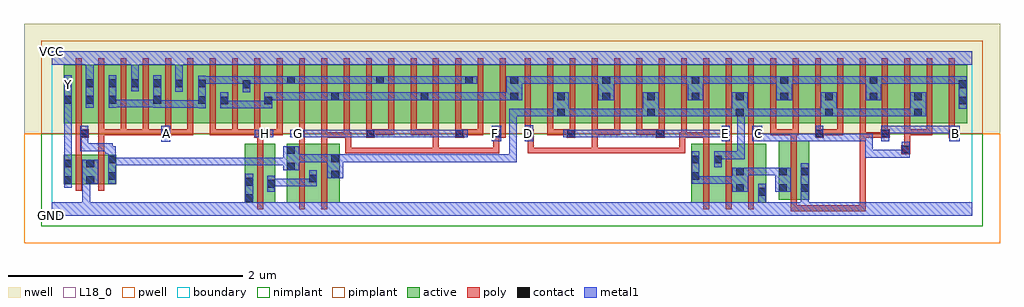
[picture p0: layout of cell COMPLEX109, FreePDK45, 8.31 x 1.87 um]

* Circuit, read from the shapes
.subckt COMPLEX109 A B C D E F G GND H VCC Y
M1 GND n1 Y VSUBS nfet w=0.25u l=0.05u
M2 n1 A GND VSUBS nfet w=0.25u l=0.05u
M3 n2 H GND VSUBS nfet w=0.5u l=0.05u
M4 n2 G n1 VSUBS nfet w=0.5u l=0.05u
M5 n1 F n2 VSUBS nfet w=0.5u l=0.05u
M6 n1 D n3 VSUBS nfet w=0.5u l=0.05u
M7 n3 E n1 VSUBS nfet w=0.5u l=0.05u
M8 GND C n3 VSUBS nfet w=0.5u l=0.05u
M9 GND B n3 VSUBS nfet w=0.5u l=0.05u
M10 VCC n1 Y n4 pfet w=0.5u l=0.05u
M11 n5 A VCC n4 pfet w=0.5u l=0.05u m=5
M12 n6 H n5 n4 pfet w=0.5u l=0.05u m=4
M13 n7 G n5 n4 pfet w=0.5u l=0.05u
M14 n6 F n7 n4 pfet w=0.5u l=0.05u
M15 n8 F n6 n4 pfet w=0.5u l=0.05u
M16 n5 G n8 n4 pfet w=0.5u l=0.05u
M17 n9 G n5 n4 pfet w=0.5u l=0.05u
M18 n6 F n9 n4 pfet w=0.5u l=0.05u
M19 n10 F n6 n4 pfet w=0.5u l=0.05u
M20 n5 G n10 n4 pfet w=0.5u l=0.05u
M21 n11 G n5 n4 pfet w=0.5u l=0.05u
M22 n6 F n11 n4 pfet w=0.5u l=0.05u
M23 n12 D n6 n4 pfet w=0.5u l=0.05u
M24 n1 E n12 n4 pfet w=0.5u l=0.05u
M25 n13 E n1 n4 pfet w=0.5u l=0.05u
M26 n6 D n13 n4 pfet w=0.5u l=0.05u
M27 n14 D n6 n4 pfet w=0.5u l=0.05u
M28 n1 E n14 n4 pfet w=0.5u l=0.05u
M29 n15 E n1 n4 pfet w=0.5u l=0.05u
M30 n6 D n15 n4 pfet w=0.5u l=0.05u
M31 n16 D n6 n4 pfet w=0.5u l=0.05u
M32 n1 E n16 n4 pfet w=0.5u l=0.05u
M33 n17 C n1 n4 pfet w=0.5u l=0.05u
M34 n6 B n17 n4 pfet w=0.5u l=0.05u
M35 n18 B n6 n4 pfet w=0.5u l=0.05u
M36 n1 C n18 n4 pfet w=0.5u l=0.05u
M37 n19 C n1 n4 pfet w=0.5u l=0.05u
M38 n6 B n19 n4 pfet w=0.5u l=0.05u
M39 n20 B n6 n4 pfet w=0.5u l=0.05u
M40 n1 C n20 n4 pfet w=0.5u l=0.05u
M41 n21 C n1 n4 pfet w=0.5u l=0.05u
M42 n6 B n21 n4 pfet w=0.5u l=0.05u
.ends

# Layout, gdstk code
import gdstk
lib = gdstk.Library(unit=1e-6, precision=1e-09)
def R(c, l, rs):  # rectangles x0, y0, x1, y1
    for r in rs: c.add(gdstk.rectangle(r[:2], r[2:], *l))
def A(c, l, x, y, w, h, nx, ny, dx, dy):  # array of equal rectangles
    R(c, l, [(x+i*dx, y+j*dy, x+i*dx+w, y+j*dy+h) for i in range(nx) for j in range(ny)])
active = (1, 0)
pwell = (2, 0)
nwell = (3, 0)
nimplant = (4, 0)
pimplant = (5, 0)
poly = (9, 0)
contact = (10, 0)
metal1 = (11, 0)
L18_0 = (18, 0)
boundary = (235, 0)

complex109 = lib.new_cell('COMPLEX109')
A(complex109, active, 0.102, 0.787, 0.26, 0.5, 3, 1, 0.76, 0)
A(complex109, active, 0.102, 0.787, 0.075, 0.413, 4, 1, 0.38, 0)
A(complex109, active, 0.287, 0.787, 0.27, 0.5, 3, 1, 0.76, 0)
A(complex109, active, 4.53, 0.787, 0.23, 0.5, 3, 1, 0.38, 0)
A(complex109, active, 4.685, 0.787, 0.225, 0.5, 3, 1, 0.38, 0)
A(complex109, active, 6.05, 0.787, 0.225, 0.5, 5, 1, 0.38, 0)
A(complex109, active, 6.2, 0.787, 0.23, 0.5, 4, 1, 0.38, 0)
R(complex109, active, [(1.645,0.112,1.905,0.612), (1.645,0.112,1.72,0.592), (2.002,0.112,2.262,0.612), (2.187,0.112,2.452,0.612), (5.445,0.112,5.71,0.612), (5.635,0.112,5.9,0.612), (5.825,0.112,6.085,0.612), (6.01,0.112,6.085,0.592), (6.19,0.137,6.45,0.637), (1.83,0.145,1.905,0.592), (2.002,0.145,2.077,0.612), (2.187,0.145,2.262,0.592), (2.377,0.145,2.452,0.612), (5.445,0.145,5.52,0.612), (5.635,0.145,5.71,0.592), (5.825,0.145,5.9,0.592), (6.19,0.145,6.265,0.637), (6.375,0.145,6.45,0.637), (0.102,0.267,0.177,0.517), (0.102,0.267,0.367,0.517), (0.292,0.267,0.367,0.517), (0.292,0.267,0.552,0.517), (0.477,0.267,0.552,0.517), (0.287,0.787,0.362,1.255), (0.482,0.787,0.747,1.287), (0.672,0.787,0.937,1.287), (0.672,0.787,0.747,1.255), (1.047,0.787,1.122,1.255), (1.242,0.787,1.507,1.287), (1.432,0.787,1.697,1.287), (1.432,0.787,1.507,1.07), (1.807,0.787,1.882,1.07), (2.002,0.787,2.227,1.287), (2.227,0.787,2.452,1.287), (2.377,0.787,2.607,1.287), (2.377,0.787,2.452,1.07), (2.607,0.787,2.835,1.287), (2.76,0.787,2.835,1.2), (2.76,0.787,2.987,1.287), (2.987,0.787,3.212,1.287), (3.137,0.787,3.367,1.287), (3.137,0.787,3.212,1.07), (3.367,0.787,3.592,1.287), (3.517,0.787,3.592,1.2), (3.517,0.787,3.747,1.287), (3.747,0.787,3.977,1.287), (3.902,0.787,3.977,1.2), (3.902,0.787,4.15,1.287), (4.15,0.787,4.375,1.287), (4.3,0.787,4.53,1.287), (4.3,0.787,4.375,1.07), (4.685,0.787,4.76,1.2), (5.065,0.787,5.14,1.07), (5.445,0.787,5.52,1.2), (5.67,0.787,5.897,1.287), (5.822,0.787,5.897,1.07), (5.822,0.787,6.05,1.287), (6.58,0.787,6.655,1.07), (6.96,0.787,7.035,1.2), (7.34,0.787,7.415,1.07), (7.72,0.787,7.795,1.2), (1.622,0.807,1.697,1.2), (2.002,0.807,2.077,1.2), (6.2,0.807,6.275,1.2)])
R(complex109, pwell, [(-0.235,-0.235,8.075,0.7)])
R(complex109, nwell, [(-0.235,0.7,8.075,1.635)])
R(complex109, nimplant, [(-0.09,-0.09,7.93,0.7)])
R(complex109, pimplant, [(-0.09,0.7,7.93,1.49)])
A(complex109, poly, 5.55, 0.057, 0.05, 0.61, 3, 1, 0.19, 0)
A(complex109, poly, 5.55, 0.617, 0.05, 0.095, 3, 1, 0.19, 0)
A(complex109, poly, 0.207, 0.687, 0.05, 0.095, 11, 1, 0.19, 0)
A(complex109, poly, 0.587, 0.687, 0.24, 0.05, 3, 1, 0.38, 0)
A(complex109, poly, 1.347, 0.687, 0.05, 0.05, 3, 1, 0.19, 0)
A(complex109, poly, 2.677, 0.687, 0.05, 0.095, 7, 1, 0.19, 0)
A(complex109, poly, 2.867, 0.687, 0.05, 0.05, 3, 1, 0.19, 0)
A(complex109, poly, 4.03, 0.687, 0.05, 0.095, 7, 1, 0.19, 0)
A(complex109, poly, 5.74, 0.687, 0.05, 0.095, 6, 1, 0.19, 0)
A(complex109, poly, 7.07, 0.687, 0.05, 0.095, 4, 1, 0.19, 0)
A(complex109, poly, 0.207, 0.732, 0.05, 0.61, 20, 1, 0.19, 0)
A(complex109, poly, 4.03, 0.732, 0.05, 0.61, 20, 1, 0.19, 0)
R(complex109, poly, [(6.295,0.037,6.345,0.132), (6.295,0.037,6.345,0.087), (6.295,0.037,6.345,0.087), (6.295,0.037,6.345,0.087), (6.295,0.037,6.607,0.087), (6.557,0.037,6.607,0.087), (6.557,0.037,6.607,0.087), (6.557,0.037,6.607,0.087), (6.557,0.037,6.607,0.087), (6.557,0.037,6.607,0.087), (6.557,0.037,6.74,0.087), (6.69,0.037,6.93,0.087), (6.69,0.037,6.74,0.087), (6.88,0.037,6.93,0.087), (6.88,0.037,6.93,0.087), (6.88,0.037,6.93,0.087), (6.88,0.037,6.93,0.712), (1.75,0.057,1.8,0.667), (2.107,0.057,2.157,0.667), (2.297,0.057,2.347,0.667), (6.295,0.082,6.345,0.692), (0.207,0.212,0.257,0.572), (0.397,0.212,0.447,0.572), (0.207,0.522,0.257,0.712), (0.397,0.522,0.447,0.737), (7.235,0.525,7.31,0.6), (2.502,0.53,2.552,0.58), (2.502,0.53,2.552,0.58), (2.502,0.53,2.552,0.58), (2.502,0.53,2.552,0.58), (2.502,0.53,2.552,0.58), (2.502,0.53,2.552,0.712), (2.502,0.53,2.775,0.58), (2.725,0.53,2.775,0.58), (2.725,0.53,2.775,0.58), (2.725,0.53,2.775,0.58), (2.725,0.53,2.907,0.58), (2.857,0.53,2.907,0.58), (2.857,0.53,3.165,0.58), (3.115,0.53,3.165,0.58), (3.115,0.53,3.165,0.58), (3.115,0.53,3.165,0.58), (3.115,0.53,3.297,0.58), (3.247,0.53,3.297,0.58), (3.247,0.53,3.297,0.58), (3.247,0.53,3.297,0.58), (3.247,0.53,3.297,0.58), (3.247,0.53,3.297,0.58), (3.247,0.53,3.43,0.58), (3.247,0.53,3.297,0.737), (3.38,0.53,3.43,0.58), (3.38,0.53,3.43,0.58), (3.38,0.53,3.43,0.58), (3.38,0.53,3.645,0.58), (3.595,0.53,3.645,0.58), (3.595,0.53,3.645,0.58), (3.595,0.53,3.645,0.58), (3.595,0.53,3.81,0.58), (3.76,0.53,3.81,0.58), (3.76,0.53,3.81,0.58), (3.76,0.53,3.81,0.58), (3.76,0.53,3.81,0.712), (4.055,0.53,4.105,0.58), (4.055,0.53,4.105,0.58), (4.055,0.53,4.105,0.58), (4.055,0.53,4.105,0.712), (4.055,0.53,4.237,0.58), (4.187,0.53,4.237,0.58), (4.187,0.53,4.237,0.58), (4.187,0.53,4.237,0.58), (4.187,0.53,4.517,0.58), (4.467,0.53,4.517,0.58), (4.467,0.53,4.517,0.58), (4.467,0.53,4.517,0.58), (4.467,0.53,4.65,0.58), (4.6,0.53,4.65,0.58), (4.6,0.53,4.86,0.58), (4.6,0.53,4.65,0.737), (4.81,0.53,4.86,0.58), (4.81,0.53,4.86,0.58), (4.81,0.53,4.86,0.58), (4.81,0.53,5.01,0.58), (4.96,0.53,5.01,0.58), (4.96,0.53,5.01,0.58), (4.96,0.53,5.01,0.58), (4.96,0.53,5.26,0.58), (5.21,0.53,5.26,0.58), (5.21,0.53,5.26,0.58), (5.21,0.53,5.26,0.58), (5.21,0.53,5.395,0.58), (5.345,0.53,5.395,0.58), (5.345,0.53,5.395,0.58), (5.345,0.53,5.395,0.58), (5.345,0.53,5.395,0.712), (7.26,0.55,7.31,0.6), (7.26,0.55,7.31,0.6), (7.26,0.55,7.31,0.737), (1.75,0.617,1.8,0.712), (2.107,0.617,2.157,0.712), (2.297,0.617,2.347,0.712), (6.295,0.642,6.345,0.737), (0.207,0.662,0.315,0.737), (0.942,0.662,1.017,0.737), (1.727,0.662,1.835,0.737), (2.082,0.662,2.157,0.737), (2.297,0.662,2.537,0.712), (2.297,0.662,2.347,0.712), (2.297,0.662,2.347,0.712), (2.297,0.662,2.347,0.712), (2.297,0.662,2.347,0.782), (2.487,0.662,2.537,0.782), (2.487,0.662,2.552,0.712), (2.677,0.662,2.752,0.737), (3.437,0.662,3.512,0.737), (3.76,0.662,3.81,0.712), (3.76,0.662,3.81,0.712), (3.76,0.662,3.867,0.737), (4.03,0.662,4.105,0.737), (4.055,0.662,4.105,0.712), (4.055,0.662,4.105,0.712), (4.385,0.662,4.46,0.737), (5.145,0.662,5.22,0.737), (5.345,0.662,5.395,0.712), (5.345,0.662,5.395,0.712), (5.345,0.662,5.41,0.712), (5.36,0.662,5.6,0.712), (5.36,0.662,5.41,0.782), (5.55,0.662,5.6,0.712), (5.55,0.662,5.6,0.712), (5.55,0.662,5.6,0.712), (5.55,0.662,5.6,0.782), (5.702,0.662,5.79,0.737), (5.93,0.662,6.037,0.737), (6.5,0.662,6.575,0.737), (6.88,0.662,6.93,0.712), (6.88,0.662,6.93,0.712), (6.88,0.662,6.93,0.712), (6.88,0.662,6.93,0.712), (6.88,0.662,6.93,0.712), (6.88,0.662,6.93,0.712), (6.88,0.662,6.93,0.712), (6.88,0.662,7.11,0.712), (6.88,0.662,6.93,0.782), (7.06,0.662,7.135,0.737), (7.06,0.662,7.11,0.712), (7.06,0.662,7.11,0.712), (7.64,0.662,7.715,0.737), (0.397,0.687,0.637,0.737), (0.397,0.687,0.447,0.737), (0.397,0.687,0.447,0.737), (0.397,0.687,0.447,0.737), (0.587,0.687,0.637,0.737), (0.587,0.687,0.637,0.737), (0.587,0.687,0.637,0.737), (0.777,0.687,0.827,0.737), (0.777,0.687,0.992,0.737), (0.942,0.687,0.992,0.737), (0.942,0.687,0.992,0.737), (1.157,0.687,1.207,0.737), (1.157,0.687,1.207,0.737), (1.157,0.687,1.207,0.737), (1.347,0.687,1.397,0.737), (1.347,0.687,1.397,0.737), (1.537,0.687,1.777,0.737), (1.727,0.687,1.777,0.737), (1.785,0.687,1.967,0.737), (1.917,0.687,1.967,0.737), (1.917,0.687,1.967,0.737), (1.917,0.687,1.967,0.737), (2.702,0.687,2.752,0.737), (2.702,0.687,2.752,0.737), (2.702,0.687,2.917,0.737), (3.057,0.687,3.297,0.737), (3.247,0.687,3.297,0.737), (3.247,0.687,3.297,0.737), (3.462,0.687,3.677,0.737), (3.627,0.687,3.677,0.737), (3.627,0.687,3.677,0.737), (3.627,0.687,3.677,0.737), (4.22,0.687,4.27,0.737), (4.22,0.687,4.27,0.737), (4.22,0.687,4.27,0.737), (4.22,0.687,4.435,0.737), (4.6,0.687,4.84,0.737), (4.6,0.687,4.65,0.737), (4.6,0.687,4.65,0.737), (4.6,0.687,4.65,0.737), (4.79,0.687,4.84,0.737), (4.79,0.687,4.84,0.737), (4.79,0.687,4.84,0.737), (4.98,0.687,5.03,0.737), (4.98,0.687,5.195,0.737), (5.145,0.687,5.195,0.737), (5.145,0.687,5.195,0.737), (6.12,0.687,6.17,0.737), (6.12,0.687,6.17,0.737), (6.12,0.687,6.17,0.737), (6.12,0.687,6.345,0.737), (6.295,0.687,6.36,0.737), (6.525,0.687,6.74,0.737), (6.69,0.687,6.74,0.737), (6.69,0.687,6.74,0.737), (6.69,0.687,6.74,0.737), (7.26,0.687,7.5,0.737), (7.26,0.687,7.31,0.737), (7.26,0.687,7.31,0.737), (7.26,0.687,7.31,0.737), (7.45,0.687,7.5,0.737)])
A(complex109, contact, 0.487, 1.095, 0.065, 0.065, 3, 1, 0.19, 0)
R(complex109, contact, [(1.65,0.117,1.715,0.182), (6.015,0.172,6.08,0.237), (5.83,0.205,5.895,0.27), (6.195,0.205,6.26,0.27), (6.38,0.205,6.445,0.27), (1.835,0.24,1.9,0.305), (1.65,0.257,1.715,0.322), (0.107,0.272,0.172,0.337), (0.297,0.272,0.362,0.337), (2.192,0.285,2.257,0.35), (0.482,0.307,0.547,0.372), (5.45,0.307,5.515,0.372), (2.382,0.317,2.447,0.382), (5.83,0.345,5.895,0.41), (6.195,0.345,6.26,0.41), (6.38,0.345,6.445,0.41), (2.007,0.387,2.072,0.452), (0.107,0.412,0.172,0.477), (0.297,0.412,0.362,0.477), (0.482,0.447,0.547,0.512), (5.45,0.447,5.515,0.512), (5.64,0.447,5.705,0.512), (2.382,0.457,2.447,0.522), (2.007,0.527,2.072,0.592), (7.24,0.53,7.305,0.595), (0.245,0.667,0.31,0.732), (0.947,0.667,1.012,0.732), (1.765,0.667,1.83,0.732), (2.087,0.667,2.152,0.732), (2.682,0.667,2.747,0.732), (3.442,0.667,3.507,0.732), (3.765,0.667,3.83,0.732), (4.035,0.667,4.1,0.732), (4.39,0.667,4.455,0.732), (5.15,0.667,5.215,0.732), (5.707,0.667,5.772,0.732), (5.967,0.667,6.032,0.732), (6.505,0.667,6.57,0.732), (7.065,0.667,7.13,0.732), (7.645,0.667,7.71,0.732), (4.305,0.845,4.37,0.91), (5.07,0.845,5.135,0.91), (5.827,0.845,5.892,0.91), (6.585,0.845,6.65,0.91), (7.345,0.845,7.41,0.91), (7.725,0.947,7.79,1.012), (1.437,0.95,1.502,1.015), (1.812,0.95,1.877,1.015), (1.247,0.952,1.312,1.017), (0.107,0.955,0.172,1.02), (0.292,0.955,0.357,1.02), (0.487,0.955,0.552,1.02), (0.867,0.955,0.932,1.02), (3.907,0.982,3.972,1.047), (4.69,0.982,4.755,1.047), (5.45,0.982,5.515,1.047), (6.205,0.982,6.27,1.047), (6.965,0.982,7.03,1.047), (2.382,0.985,2.447,1.05), (3.142,0.985,3.207,1.05), (4.305,0.985,4.37,1.05), (5.07,0.985,5.135,1.05), (5.827,0.985,5.892,1.05), (6.585,0.985,6.65,1.05), (7.345,0.985,7.41,1.05), (1.627,1.087,1.692,1.152), (7.725,1.087,7.79,1.152), (1.052,1.092,1.117,1.157), (1.247,1.092,1.312,1.157), (0.107,1.095,0.172,1.16), (0.292,1.095,0.357,1.16), (2.007,1.122,2.072,1.187), (2.765,1.122,2.83,1.187), (3.522,1.122,3.587,1.187), (3.907,1.122,3.972,1.187), (4.69,1.122,4.755,1.187), (5.45,1.122,5.515,1.187), (6.205,1.122,6.27,1.187), (6.965,1.122,7.03,1.187)])
A(complex109, metal1, 2.8, 0.457, 0.202, 0.065, 3, 2, 0.275, 0.665)
R(complex109, metal1, [(0,0,7.84,0.115), (0.262,0.05,0.327,0.115), (0.262,0.05,0.327,0.115), (0.262,0.05,0.327,0.115), (0.262,0.05,0.327,0.115), (0.262,0.05,0.327,0.337), (1.65,0.05,1.715,0.115), (1.65,0.05,1.715,0.115), (1.65,0.05,1.715,0.147), (6.015,0.05,6.08,0.202), (6.38,0.05,6.445,0.235), (1.65,0.082,1.715,0.357), (6.015,0.137,6.08,0.202), (6.015,0.137,6.08,0.202), (6.015,0.137,6.08,0.272), (6.38,0.17,6.445,0.235), (6.38,0.17,6.445,0.235), (6.38,0.17,6.445,0.445), (1.835,0.205,1.9,0.34), (5.795,0.205,5.93,0.41), (6.16,0.205,6.295,0.41), (0.107,0.237,0.172,0.512), (1.835,0.25,1.9,0.315), (1.835,0.25,1.9,0.315), (1.835,0.25,2.037,0.315), (1.972,0.25,2.037,0.315), (1.972,0.25,2.037,0.315), (1.972,0.25,2.037,0.315), (1.972,0.25,2.257,0.315), (2.192,0.25,2.257,0.385), (0.262,0.272,0.327,0.337), (0.262,0.272,0.327,0.337), (0.262,0.272,0.397,0.477), (0.482,0.272,0.547,0.592), (5.45,0.272,5.515,0.547), (5.45,0.272,5.55,0.337), (5.485,0.272,5.55,0.337), (5.485,0.272,5.687,0.337), (5.622,0.272,5.687,0.337), (5.622,0.272,5.687,0.337), (5.622,0.272,5.687,0.337), (5.622,0.272,5.86,0.337), (2.347,0.317,2.482,0.522), (5.865,0.345,6.067,0.41), (6.002,0.345,6.067,0.41), (6.002,0.345,6.067,0.41), (6.002,0.345,6.067,0.41), (6.002,0.345,6.225,0.41), (6.16,0.345,6.225,0.41), (6.16,0.345,6.225,0.41), (1.972,0.387,2.107,0.592), (5.64,0.412,5.705,0.547), (0.482,0.43,0.657,0.495), (0.592,0.43,0.657,0.495), (0.592,0.43,0.795,0.495), (0.73,0.43,0.795,0.495), (0.73,0.43,0.795,0.495), (0.73,0.43,0.795,0.495), (0.73,0.43,0.932,0.495), (0.867,0.43,0.932,0.495), (0.867,0.43,1.07,0.495), (1.005,0.43,1.07,0.495), (1.005,0.43,1.07,0.495), (1.005,0.43,1.07,0.495), (1.005,0.43,1.227,0.495), (1.162,0.43,1.227,0.495), (1.162,0.43,1.227,0.495), (1.162,0.43,1.227,0.495), (1.162,0.43,1.365,0.495), (1.3,0.43,1.365,0.495), (1.3,0.43,1.555,0.495), (1.49,0.43,1.555,0.495), (1.49,0.43,1.555,0.495), (1.49,0.43,1.555,0.495), (1.49,0.43,1.692,0.495), (1.627,0.43,1.692,0.495), (1.627,0.43,1.692,0.495), (1.627,0.43,1.692,0.495), (1.627,0.43,1.877,0.495), (1.812,0.43,1.877,0.495), (1.812,0.43,1.877,0.495), (1.812,0.43,1.877,0.495), (1.812,0.43,2.037,0.495), (0.107,0.447,0.172,0.512), (0.107,0.447,0.172,0.512), (0.107,0.447,0.172,0.512), (0.107,0.447,0.172,0.512), (0.107,0.447,0.172,0.985), (2.042,0.457,2.107,0.522), (2.042,0.457,2.107,0.522), (2.042,0.457,2.245,0.522), (2.18,0.457,2.245,0.522), (2.18,0.457,2.325,0.522), (2.26,0.457,2.325,0.522), (2.26,0.457,2.412,0.522), (2.417,0.457,2.482,0.522), (2.417,0.457,2.482,0.522), (2.417,0.457,2.645,0.522), (2.58,0.457,2.645,0.522), (2.58,0.457,2.645,0.522), (2.58,0.457,2.645,0.522), (2.58,0.457,2.865,0.522), (2.8,0.457,2.865,0.522), (2.937,0.457,3.002,0.522), (2.937,0.457,3.002,0.522), (2.937,0.457,3.002,0.522), (2.937,0.457,3.14,0.522), (3.075,0.457,3.14,0.522), (3.212,0.457,3.277,0.522), (3.212,0.457,3.277,0.522), (3.212,0.457,3.277,0.522), (3.212,0.457,3.415,0.522), (3.35,0.457,3.415,0.522), (3.35,0.457,3.415,0.522), (3.35,0.457,3.415,0.522), (3.487,0.457,3.552,0.522), (3.487,0.457,3.552,0.522), (3.487,0.457,3.552,0.522), (3.487,0.457,3.8,0.522), (3.735,0.457,3.8,0.522), (3.735,0.457,3.8,0.522), (3.735,0.457,3.8,0.522), (3.735,0.457,3.962,0.522), (3.897,0.457,3.962,0.522), (3.897,0.457,3.962,0.522), (3.897,0.457,3.962,0.522), (3.897,0.457,3.962,0.91), (5.64,0.482,5.705,0.547), (5.64,0.482,5.705,0.547), (5.64,0.482,5.902,0.547), (5.837,0.482,5.902,0.547), (5.837,0.482,5.902,0.91), (6.927,0.495,6.992,0.56), (6.927,0.495,6.992,0.56), (6.927,0.495,6.992,0.56), (6.927,0.495,7.202,0.56), (6.927,0.495,6.992,0.697), (7.137,0.495,7.202,0.56), (7.137,0.495,7.305,0.56), (7.24,0.495,7.305,0.63), (0.455,0.527,0.547,0.592), (0.455,0.527,0.52,0.615), (0.245,0.55,0.31,0.615), (0.245,0.55,0.52,0.615), (0.245,0.55,0.31,0.697), (0.935,0.63,1.012,0.767), (0.245,0.632,0.31,0.697), (0.245,0.632,0.31,0.697), (0.245,0.632,0.31,0.767), (3.747,0.632,3.83,0.767), (4.027,0.632,4.102,0.772), (5.707,0.632,5.772,0.767), (5.967,0.632,6.052,0.767), (5.987,0.632,6.067,0.697), (6.002,0.632,6.067,0.697), (6.002,0.632,6.225,0.697), (6.16,0.632,6.225,0.697), (6.16,0.632,6.225,0.697), (6.16,0.632,6.225,0.697), (6.16,0.632,6.372,0.697), (6.307,0.632,6.372,0.697), (6.307,0.632,6.442,0.697), (6.377,0.632,6.442,0.697), (6.377,0.632,6.57,0.697), (6.505,0.632,6.57,0.767), (6.505,0.632,6.717,0.697), (6.652,0.632,6.717,0.697), (6.652,0.632,6.717,0.697), (6.652,0.632,6.717,0.697), (6.652,0.632,6.717,0.697), (6.652,0.632,6.717,0.697), (6.652,0.632,6.855,0.697), (6.79,0.632,6.855,0.697), (6.79,0.632,6.855,0.697), (6.79,0.632,6.855,0.697), (6.79,0.632,6.992,0.697), (6.927,0.632,6.992,0.697), (7.065,0.632,7.13,0.767), (7.645,0.632,7.732,0.767), (1.73,0.667,1.887,0.732), (2.032,0.667,2.187,0.732), (2.122,0.667,2.245,0.732), (2.18,0.667,2.245,0.732), (2.18,0.667,2.325,0.732), (2.26,0.667,2.325,0.732), (2.26,0.667,2.507,0.732), (2.442,0.667,2.507,0.732), (2.442,0.667,2.507,0.732), (2.442,0.667,2.507,0.732), (2.442,0.667,2.645,0.732), (2.58,0.667,2.645,0.732), (2.58,0.667,2.712,0.732), (2.647,0.667,2.782,0.732), (2.717,0.667,2.782,0.732), (2.717,0.667,2.782,0.732), (2.717,0.667,3.002,0.732), (2.937,0.667,3.002,0.732), (2.937,0.667,3.002,0.732), (2.937,0.667,3.002,0.732), (2.937,0.667,3.14,0.732), (3.075,0.667,3.14,0.732), (3.075,0.667,3.277,0.732), (3.212,0.667,3.277,0.732), (3.212,0.667,3.277,0.732), (3.212,0.667,3.277,0.732), (3.212,0.667,3.415,0.732), (3.35,0.667,3.415,0.732), (3.35,0.667,3.472,0.732), (3.407,0.667,3.542,0.732), (4.355,0.667,4.49,0.732), (4.425,0.667,4.542,0.732), (4.477,0.667,4.542,0.732), (4.477,0.667,4.652,0.732), (4.587,0.667,4.652,0.732), (4.587,0.667,4.79,0.732), (4.725,0.667,4.79,0.732), (4.725,0.667,4.79,0.732), (4.725,0.667,4.79,0.732), (4.725,0.667,4.962,0.732), (4.897,0.667,4.962,0.732), (4.897,0.667,4.962,0.732), (4.897,0.667,4.962,0.732), (4.897,0.667,5.18,0.732), (5.115,0.667,5.18,0.732), (5.115,0.667,5.18,0.732), (5.115,0.667,5.25,0.732), (5.185,0.667,5.317,0.732), (5.252,0.667,5.317,0.732), (5.252,0.667,5.412,0.732), (5.347,0.667,5.412,0.732), (5.347,0.667,5.55,0.732), (5.485,0.667,5.55,0.732), (5.485,0.667,5.55,0.732), (5.485,0.667,5.55,0.732), (5.485,0.667,5.687,0.732), (5.622,0.667,5.687,0.732), (5.622,0.667,5.772,0.732), (7.065,0.702,7.202,0.767), (7.137,0.702,7.202,0.767), (7.137,0.702,7.435,0.767), (7.37,0.702,7.435,0.767), (7.37,0.702,7.435,0.767), (7.37,0.702,7.435,0.767), (7.37,0.702,7.572,0.767), (7.507,0.702,7.572,0.767), (7.507,0.702,7.572,0.767), (7.507,0.702,7.572,0.767), (7.507,0.702,7.71,0.767), (3.897,0.845,3.962,0.91), (3.897,0.845,4.145,0.91), (4.08,0.845,4.145,0.91), (4.08,0.845,4.145,0.91), (4.08,0.845,4.145,0.91), (4.08,0.845,4.282,0.91), (4.217,0.845,4.282,0.91), (4.217,0.845,4.335,0.91), (4.27,0.845,4.405,1.05), (4.34,0.845,4.515,0.91), (4.45,0.845,4.515,0.91), (4.45,0.845,4.542,0.91), (4.477,0.845,4.542,0.91), (4.477,0.845,4.652,0.91), (4.587,0.845,4.652,0.91), (4.587,0.845,4.79,0.91), (4.725,0.845,4.79,0.91), (4.725,0.845,4.79,0.91), (4.725,0.845,4.79,0.91), (4.725,0.845,4.962,0.91), (4.897,0.845,4.962,0.91), (4.897,0.845,4.962,0.91), (4.897,0.845,4.962,0.91), (4.897,0.845,5.1,0.91), (5.035,0.845,5.17,1.05), (5.105,0.845,5.17,0.91), (5.105,0.845,5.17,0.91), (5.105,0.845,5.317,0.91), (5.252,0.845,5.317,0.91), (5.252,0.845,5.412,0.91), (5.347,0.845,5.412,0.91), (5.347,0.845,5.55,0.91), (5.485,0.845,5.55,0.91), (5.485,0.845,5.55,0.91), (5.485,0.845,5.55,0.91), (5.485,0.845,5.687,0.91), (5.622,0.845,5.687,0.91), (5.622,0.845,5.687,0.91), (5.622,0.845,5.687,0.91), (5.622,0.845,5.857,0.91), (5.792,0.845,5.927,1.05), (5.837,0.845,5.902,0.91), (5.837,0.845,5.902,0.91), (5.862,0.845,5.927,0.91), (5.862,0.845,5.927,0.91), (5.862,0.845,6.087,0.91), (6.022,0.845,6.087,0.91), (6.022,0.845,6.225,0.91), (6.16,0.845,6.225,0.91), (6.16,0.845,6.225,0.91), (6.16,0.845,6.225,0.91), (6.16,0.845,6.372,0.91), (6.307,0.845,6.372,0.91), (6.307,0.845,6.442,0.91), (6.377,0.845,6.442,0.91), (6.377,0.845,6.51,0.91), (6.445,0.845,6.51,0.91), (6.445,0.845,6.615,0.91), (6.55,0.845,6.685,1.05), (6.62,0.845,6.717,0.91), (6.652,0.845,6.717,0.91), (6.652,0.845,6.855,0.91), (6.79,0.845,6.855,0.91), (6.79,0.845,6.855,0.91), (6.79,0.845,6.855,0.91), (6.79,0.845,7.065,0.91), (7,0.845,7.065,0.91), (7,0.845,7.065,0.91), (7,0.845,7.065,0.91), (7,0.845,7.237,0.91), (7.172,0.845,7.237,0.91), (7.172,0.845,7.375,0.91), (7.31,0.845,7.375,0.91), (7.31,0.845,7.375,0.91), (7.31,0.845,7.445,1.05), (7.725,0.912,7.79,1.187), (1.437,0.915,1.502,0.98), (1.437,0.915,1.502,0.98), (1.437,0.915,1.502,1.05), (1.437,0.915,1.74,0.98), (1.675,0.915,1.74,0.98), (1.675,0.915,1.74,0.98), (1.675,0.915,1.74,0.98), (1.675,0.915,1.877,0.98), (1.812,0.915,1.877,1.05), (1.247,0.917,1.312,1.192), (0.107,0.92,0.172,0.985), (0.107,0.92,0.172,0.985), (0.107,0.92,0.172,1.195), (0.292,0.92,0.357,1.195), (0.487,0.92,0.552,1.195), (0.867,0.92,0.932,0.985), (0.867,0.92,0.932,0.985), (0.867,0.92,0.932,1.195), (0.867,0.92,1.09,0.985), (1.025,0.92,1.09,0.985), (1.025,0.92,1.207,0.985), (1.142,0.92,1.207,0.985), (1.142,0.92,1.312,0.985), (0.487,0.922,0.657,0.987), (0.592,0.922,0.657,0.987), (0.592,0.922,0.795,0.987), (0.73,0.922,0.795,0.987), (0.73,0.922,0.795,0.987), (0.73,0.922,0.795,0.987), (0.73,0.922,0.932,0.987), (3.872,0.982,4.007,1.187), (4.655,0.982,4.79,1.187), (5.415,0.982,5.55,1.187), (6.17,0.982,6.305,1.187), (6.93,0.982,7.065,1.187), (1.812,0.985,1.877,1.05), (1.812,0.985,1.877,1.05), (1.812,0.985,2.037,1.05), (1.972,0.985,2.037,1.05), (1.972,0.985,2.037,1.05), (1.972,0.985,2.037,1.05), (1.972,0.985,2.275,1.05), (2.21,0.985,2.275,1.05), (2.21,0.985,2.345,1.05), (2.28,0.985,2.345,1.05), (2.28,0.985,2.412,1.05), (2.347,0.985,2.482,1.05), (2.417,0.985,2.482,1.05), (2.417,0.985,2.482,1.05), (2.417,0.985,2.645,1.05), (2.58,0.985,2.645,1.05), (2.58,0.985,2.645,1.05), (2.58,0.985,2.645,1.05), (2.58,0.985,2.782,1.05), (2.717,0.985,2.782,1.05), (2.717,0.985,3.002,1.05), (2.937,0.985,3.002,1.05), (2.937,0.985,3.002,1.05), (2.937,0.985,3.002,1.05), (2.937,0.985,3.14,1.05), (3.075,0.985,3.14,1.05), (3.075,0.985,3.172,1.05), (3.107,0.985,3.242,1.05), (3.177,0.985,3.277,1.05), (3.212,0.985,3.277,1.05), (3.212,0.985,3.415,1.05), (3.35,0.985,3.415,1.05), (3.35,0.985,3.415,1.05), (3.35,0.985,3.415,1.05), (3.35,0.985,3.552,1.05), (3.487,0.985,3.552,1.05), (3.487,0.985,3.552,1.05), (3.487,0.985,3.552,1.05), (3.487,0.985,3.8,1.05), (3.735,0.985,3.8,1.05), (3.735,0.985,3.8,1.05), (3.735,0.985,3.8,1.05), (3.735,0.985,3.937,1.05), (1.627,1.052,1.692,1.187), (1.052,1.057,1.117,1.192), (0.677,1.06,0.742,1.195), (1.247,1.122,1.365,1.187), (1.3,1.122,1.365,1.187), (1.3,1.122,1.555,1.187), (1.49,1.122,1.555,1.187), (1.49,1.122,1.555,1.187), (1.49,1.122,1.555,1.187), (1.49,1.122,1.692,1.187), (1.627,1.122,1.692,1.187), (1.627,1.122,1.692,1.187), (1.627,1.122,1.9,1.187), (1.835,1.122,1.9,1.187), (1.835,1.122,1.9,1.187), (1.835,1.122,1.9,1.187), (1.835,1.122,2.037,1.187), (1.972,1.122,2.107,1.187), (2.042,1.122,2.187,1.187), (2.122,1.122,2.187,1.187), (2.122,1.122,2.245,1.187), (2.18,1.122,2.245,1.187), (2.18,1.122,2.325,1.187), (2.26,1.122,2.325,1.187), (2.26,1.122,2.482,1.187), (2.417,1.122,2.482,1.187), (2.417,1.122,2.482,1.187), (2.417,1.122,2.482,1.187), (2.417,1.122,2.645,1.187), (2.58,1.122,2.645,1.187), (2.58,1.122,2.795,1.187), (2.73,1.122,2.795,1.187), (2.73,1.122,2.795,1.187), (2.73,1.122,2.865,1.187), (2.937,1.122,3.002,1.187), (2.937,1.122,3.002,1.187), (2.937,1.122,3.002,1.187), (2.937,1.122,3.14,1.187), (3.075,1.122,3.14,1.187), (3.075,1.122,3.14,1.187), (3.075,1.122,3.14,1.187), (3.212,1.122,3.277,1.187), (3.212,1.122,3.415,1.187), (3.35,1.122,3.415,1.187), (3.35,1.122,3.415,1.187), (3.35,1.122,3.415,1.187), (3.487,1.122,3.622,1.187), (3.942,1.122,4.145,1.187), (4.08,1.122,4.145,1.187), (4.08,1.122,4.145,1.187), (4.08,1.122,4.145,1.187), (4.08,1.122,4.282,1.187), (4.217,1.122,4.282,1.187), (4.217,1.122,4.282,1.187), (4.217,1.122,4.282,1.187), (4.217,1.122,4.515,1.187), (4.45,1.122,4.515,1.187), (4.45,1.122,4.542,1.187), (4.477,1.122,4.542,1.187), (4.477,1.122,4.652,1.187), (4.587,1.122,4.652,1.187), (4.587,1.122,4.72,1.187), (4.725,1.122,4.79,1.187), (4.725,1.122,4.79,1.187), (4.725,1.122,4.927,1.187), (4.862,1.122,4.927,1.187), (4.862,1.122,4.927,1.187), (4.862,1.122,4.927,1.187), (4.862,1.122,5.1,1.187), (5.035,1.122,5.1,1.187), (5.035,1.122,5.1,1.187), (5.035,1.122,5.1,1.187), (5.035,1.122,5.342,1.187), (5.277,1.122,5.342,1.187), (5.277,1.122,5.387,1.187), (5.322,1.122,5.387,1.187), (5.322,1.122,5.48,1.187), (5.485,1.122,5.55,1.187), (5.485,1.122,5.55,1.187), (5.485,1.122,5.55,1.187), (5.485,1.122,5.55,1.187), (5.485,1.122,5.72,1.187), (5.655,1.122,5.72,1.187), (5.655,1.122,5.72,1.187), (5.655,1.122,5.72,1.187), (5.655,1.122,5.93,1.187), (5.865,1.122,5.93,1.187), (5.865,1.122,6.067,1.187), (6.002,1.122,6.067,1.187), (6.002,1.122,6.067,1.187), (6.002,1.122,6.067,1.187), (6.002,1.122,6.235,1.187), (6.17,1.122,6.235,1.187), (6.17,1.122,6.235,1.187), (6.24,1.122,6.372,1.187), (6.307,1.122,6.372,1.187), (6.307,1.122,6.442,1.187), (6.377,1.122,6.442,1.187), (6.377,1.122,6.58,1.187), (6.515,1.122,6.58,1.187), (6.515,1.122,6.58,1.187), (6.515,1.122,6.58,1.187), (6.515,1.122,6.717,1.187), (6.652,1.122,6.717,1.187), (6.652,1.122,6.855,1.187), (6.79,1.122,6.855,1.187), (6.79,1.122,6.855,1.187), (6.79,1.122,6.855,1.187), (6.79,1.122,6.995,1.187), (7,1.122,7.065,1.187), (7,1.122,7.065,1.187), (7,1.122,7.202,1.187), (7.137,1.122,7.202,1.187), (7.137,1.122,7.435,1.187), (7.37,1.122,7.435,1.187), (7.37,1.122,7.435,1.187), (7.37,1.122,7.435,1.187), (7.37,1.122,7.572,1.187), (7.507,1.122,7.572,1.187), (7.507,1.122,7.572,1.187), (7.507,1.122,7.572,1.187), (7.507,1.122,7.79,1.187), (7.725,1.122,7.79,1.187), (7.725,1.122,7.79,1.187), (1.052,1.127,1.117,1.35), (0.292,1.13,0.357,1.35), (0.677,1.13,0.742,1.35), (0,1.285,7.84,1.4)])
R(complex109, L18_0, [(0,0,7.84,0.115), (0.262,0.05,0.327,0.115), (0.262,0.05,0.327,0.115), (0.262,0.05,0.327,0.115), (0.262,0.05,0.327,0.115), (0.262,0.05,0.327,0.337), (1.65,0.05,1.715,0.115), (1.65,0.05,1.715,0.115), (1.65,0.05,1.715,0.147), (6.015,0.05,6.08,0.202), (6.38,0.05,6.445,0.235), (1.65,0.082,1.715,0.357), (6.015,0.137,6.08,0.202), (6.015,0.137,6.08,0.202), (6.015,0.137,6.08,0.272), (6.38,0.17,6.445,0.445), (6.38,0.17,6.445,0.235), (6.38,0.17,6.445,0.235), (0.107,0.237,0.172,0.512), (0.262,0.272,0.327,0.337), (0.262,0.272,0.327,0.337), (0.262,0.272,0.397,0.477), (0.107,0.447,0.172,0.512), (0.107,0.447,0.172,0.512), (0.107,0.447,0.172,0.512), (0.107,0.447,0.172,0.512), (0.107,0.447,0.172,0.985), (6.927,0.495,6.992,0.56), (6.927,0.495,6.992,0.56), (6.927,0.495,6.992,0.56), (6.927,0.495,6.992,0.697), (6.927,0.495,7.202,0.56), (7.137,0.495,7.202,0.56), (7.137,0.495,7.305,0.56), (7.24,0.495,7.305,0.63), (0.935,0.63,1.012,0.767), (3.747,0.632,3.83,0.767), (4.027,0.632,4.102,0.772), (5.707,0.632,5.772,0.767), (5.967,0.632,6.052,0.767), (5.987,0.632,6.067,0.697), (6.002,0.632,6.067,0.697), (6.002,0.632,6.225,0.697), (6.16,0.632,6.225,0.697), (6.16,0.632,6.225,0.697), (6.16,0.632,6.225,0.697), (6.16,0.632,6.372,0.697), (6.307,0.632,6.372,0.697), (6.307,0.632,6.442,0.697), (6.377,0.632,6.442,0.697), (6.377,0.632,6.57,0.697), (6.505,0.632,6.57,0.767), (6.505,0.632,6.717,0.697), (6.652,0.632,6.717,0.697), (6.652,0.632,6.717,0.697), (6.652,0.632,6.717,0.697), (6.652,0.632,6.717,0.697), (6.652,0.632,6.717,0.697), (6.652,0.632,6.855,0.697), (6.79,0.632,6.855,0.697), (6.79,0.632,6.855,0.697), (6.79,0.632,6.855,0.697), (6.79,0.632,6.992,0.697), (6.927,0.632,6.992,0.697), (7.065,0.632,7.13,0.767), (7.645,0.632,7.732,0.767), (0.947,0.667,1.012,0.732), (1.73,0.667,1.887,0.732), (1.787,0.667,1.852,0.732), (2.032,0.667,2.187,0.732), (2.067,0.667,2.132,0.732), (2.122,0.667,2.245,0.732), (2.18,0.667,2.245,0.732), (2.18,0.667,2.325,0.732), (2.26,0.667,2.325,0.732), (2.26,0.667,2.507,0.732), (2.442,0.667,2.507,0.732), (2.442,0.667,2.507,0.732), (2.442,0.667,2.507,0.732), (2.442,0.667,2.645,0.732), (2.58,0.667,2.645,0.732), (2.58,0.667,2.712,0.732), (2.647,0.667,2.782,0.732), (2.717,0.667,2.782,0.732), (2.717,0.667,2.782,0.732), (2.717,0.667,3.002,0.732), (2.937,0.667,3.002,0.732), (2.937,0.667,3.002,0.732), (2.937,0.667,3.002,0.732), (2.937,0.667,3.14,0.732), (3.075,0.667,3.14,0.732), (3.075,0.667,3.277,0.732), (3.212,0.667,3.277,0.732), (3.212,0.667,3.277,0.732), (3.212,0.667,3.277,0.732), (3.212,0.667,3.415,0.732), (3.35,0.667,3.415,0.732), (3.35,0.667,3.472,0.732), (3.407,0.667,3.542,0.732), (3.747,0.667,3.812,0.732), (4.027,0.667,4.092,0.732), (4.355,0.667,4.49,0.732), (4.425,0.667,4.542,0.732), (4.477,0.667,4.542,0.732), (4.477,0.667,4.652,0.732), (4.587,0.667,4.652,0.732), (4.587,0.667,4.79,0.732), (4.725,0.667,4.79,0.732), (4.725,0.667,4.79,0.732), (4.725,0.667,4.79,0.732), (4.725,0.667,4.962,0.732), (4.897,0.667,4.962,0.732), (4.897,0.667,4.962,0.732), (4.897,0.667,4.962,0.732), (4.897,0.667,5.18,0.732), (5.115,0.667,5.18,0.732), (5.115,0.667,5.18,0.732), (5.115,0.667,5.25,0.732), (5.185,0.667,5.317,0.732), (5.252,0.667,5.317,0.732), (5.252,0.667,5.412,0.732), (5.347,0.667,5.412,0.732), (5.347,0.667,5.55,0.732), (5.485,0.667,5.55,0.732), (5.485,0.667,5.55,0.732), (5.485,0.667,5.55,0.732), (5.485,0.667,5.687,0.732), (5.622,0.667,5.687,0.732), (5.622,0.667,5.772,0.732), (5.707,0.667,5.772,0.732), (5.987,0.667,6.052,0.732), (7.667,0.667,7.732,0.732), (7.065,0.702,7.202,0.767), (7.137,0.702,7.202,0.767), (7.137,0.702,7.435,0.767), (7.37,0.702,7.435,0.767), (7.37,0.702,7.435,0.767), (7.37,0.702,7.435,0.767), (7.37,0.702,7.572,0.767), (7.507,0.702,7.572,0.767), (7.507,0.702,7.572,0.767), (7.507,0.702,7.572,0.767), (7.507,0.702,7.71,0.767), (0.107,0.92,0.172,1.195), (0.107,0.92,0.172,0.985), (0.107,0.92,0.172,0.985), (0.292,0.92,0.357,1.195), (1.052,1.057,1.117,1.192), (0.677,1.06,0.742,1.195), (0.107,1.087,0.172,1.152), (1.052,1.127,1.117,1.35), (0.292,1.13,0.357,1.35), (0.677,1.13,0.742,1.35), (0,1.285,7.84,1.4)])
R(complex109, boundary, [(0,0,7.84,1.4)])
complex109.add(gdstk.Label('A', (0.98,0.7), layer=11, texttype=0))
complex109.add(gdstk.Label('B', (7.7,0.7), layer=11, texttype=0))
complex109.add(gdstk.Label('C', (6.02,0.7), layer=11, texttype=0))
complex109.add(gdstk.Label('D', (4.06,0.7), layer=11, texttype=0))
complex109.add(gdstk.Label('E', (5.74,0.7), layer=11, texttype=0))
complex109.add(gdstk.Label('F', (3.78,0.7), layer=11, texttype=0))
complex109.add(gdstk.Label('G', (2.1,0.7), layer=11, texttype=0))
complex109.add(gdstk.Label('H', (1.82,0.7), layer=11, texttype=0))
complex109.add(gdstk.Label('Y', (0.14,1.12), layer=11, texttype=0))
complex109.add(gdstk.Label('VCC', (0,1.4), layer=11, texttype=0))
complex109.add(gdstk.Label('GND', (0,0), layer=11, texttype=0))

lib.write_gds('COMPLEX109.gds')
